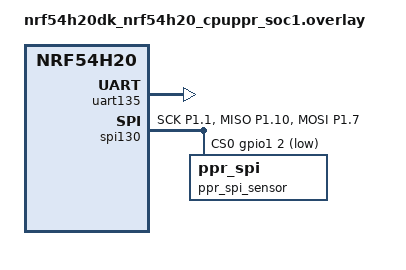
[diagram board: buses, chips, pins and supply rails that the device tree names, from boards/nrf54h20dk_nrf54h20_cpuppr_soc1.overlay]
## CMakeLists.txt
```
#
# Copyright (c) 2022 Nordic Semiconductor ASA
#
# SPDX-License-Identifier: LicenseRef-Nordic-5-Clause
#

cmake_minimum_required(VERSION 3.20.0)

find_package(Zephyr REQUIRED HINTS $ENV{ZEPHYR_BASE})
project(remote)

target_sources(app PRIVATE src/main_ppr.c)
```

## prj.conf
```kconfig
CONFIG_PRINTK=y
CONFIG_SERIAL=y
CONFIG_CONSOLE=y
CONFIG_GPIO=y
CONFIG_SPI=y
```

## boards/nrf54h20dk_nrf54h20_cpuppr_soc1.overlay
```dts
/*
 * Copyright (c) 2022 Nordic Semiconductor ASA
 *
 * SPDX-License-Identifier: LicenseRef-Nordic-5-Clause
 */

 / {
	chosen {
		zephyr,console = &uart135;
		zephyr,code-partition = &mram0;
	};
};

&uart135 {
	status = "okay";
};

/* Remove shared area node and use its space for extending cpuppr_sram */
/delete-node/ &ipc_shm_area_cpuapp_cpuppr;

&cpuppr_sram {
	reg = <0x0 DT_SIZE_K(64)>;
	ranges = <0x0 0x0 DT_SIZE_K(64)>;
};

// Copied in from sensor_hub shield used by the ml sample

&gpio1 {
	status = "okay";
};

&gpiote130 {
	status = "okay";
	owned-channels = <0>;
};

&pinctrl {
	spi130_default: spi130_default {
		group1 {
			psels = <NRF_PSEL(SPIM_SCK, 1, 1)>,
				<NRF_PSEL(SPIM_MISO, 1, 10)>,
				<NRF_PSEL(SPIM_MOSI, 1, 7)>;
		};
	};

	spi130_sleep: spi130_sleep {
		group1 {
			psels = <NRF_PSEL(SPIM_SCK, 1, 1)>,
				<NRF_PSEL(SPIM_MISO, 1, 10)>,
				<NRF_PSEL(SPIM_MOSI, 1, 7)>;
			low-power-enable;
		};
	};
};

ppr_spi: &spi130 {
	status = "okay";
	cs-gpios = <&gpio1 2 GPIO_ACTIVE_LOW>;

	pinctrl-0 = <&spi130_default>;
	pinctrl-1 = <&spi130_sleep>;
	pinctrl-names = "default", "sleep";

	ppr_spi_sensor: ppr_spi@0 {
		reg = <0>;
	};
};
```

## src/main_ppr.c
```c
/*
 * Copyright (c) 2022 Nordic Semiconductor ASA
 *
 * SPDX-License-Identifier: LicenseRef-Nordic-5-Clause
 */

#include <zephyr/kernel.h>
#include <zephyr/sys/printk.h>
#include <zephyr/logging/log.h>
#include <zephyr/drivers/gpio.h>
#include <zephyr/drivers/spi.h>
LOG_MODULE_REGISTER(app);

#define PPR_SPI DT_NODELABEL(ppr_spi)

const struct device *spi_dev;
struct spi_cs_control spim_cs = {
	.gpio = SPI_CS_GPIOS_DT_SPEC_GET(DT_NODELABEL(ppr_spi_sensor)),
	.delay = 0,
};

static void spi_init(void)
{
	spi_dev = DEVICE_DT_GET(PPR_SPI);
	if(!device_is_ready(spi_dev)) {
		printk("SPI master device not ready!\n");
	}
	if(!device_is_ready(spim_cs.gpio.port)){
		printk("SPI master chip select device not ready!\n");
	}
}

int main(void)
{
	printk("SPI sample started (%s)\n", CONFIG_BOARD);

	while (1) {
        static int cnt = 0;
        printk("SPI transaction: %i\n", cnt++);
		// Add SPI TX here
		k_msleep(1000);
	}

	return 0;
}
```
